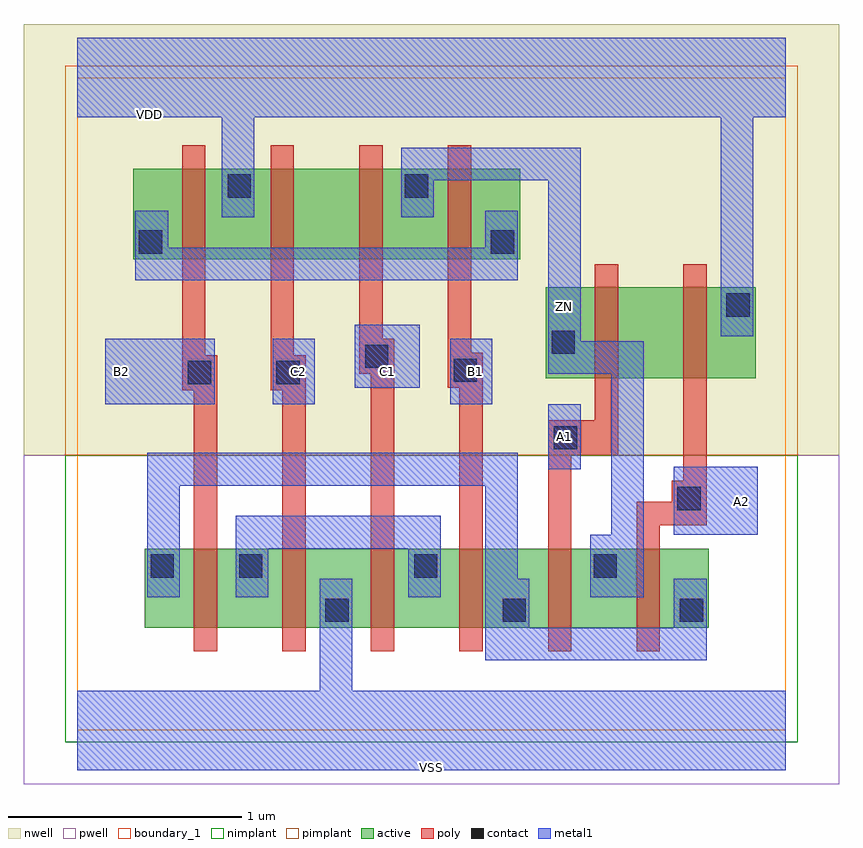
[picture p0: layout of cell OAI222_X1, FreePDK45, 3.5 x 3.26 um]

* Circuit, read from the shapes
.subckt OAI222_X1 A1 A2 B1 B2 C1 C2 VDD VSS ZN
M1 n1 B2 n2 VSUBS nfet w=0.34u l=0.1u
M2 VSS C2 n1 VSUBS nfet w=0.34u l=0.1u
M3 n1 C1 VSS VSUBS nfet w=0.34u l=0.1u
M4 n2 B1 n1 VSUBS nfet w=0.34u l=0.1u
M5 ZN A1 n2 VSUBS nfet w=0.34u l=0.1u
M6 n2 A2 ZN VSUBS nfet w=0.34u l=0.1u
M7 VDD B2 n3 n4 pfet w=0.39u l=0.1u
M8 n5 C2 VDD n4 pfet w=0.39u l=0.1u
M9 ZN C1 n5 n4 pfet w=0.39u l=0.1u
M10 n3 B1 ZN n4 pfet w=0.39u l=0.1u
M11 n6 A1 ZN n4 pfet w=0.39u l=0.1u
M12 VDD A2 n6 n4 pfet w=0.39u l=0.1u
.ends

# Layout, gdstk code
import gdstk
lib = gdstk.Library(unit=1e-6, precision=1e-09)
def R(c, l, rs):  # rectangles x0, y0, x1, y1
    for r in rs: c.add(gdstk.rectangle(r[:2], r[2:], *l))
def A(c, l, x, y, w, h, nx, ny, dx, dy):  # array of equal rectangles
    R(c, l, [(x+i*dx, y+j*dy, x+i*dx+w, y+j*dy+h) for i in range(nx) for j in range(ny)])
def P(c, l, *ps):  # polygons
    for p in ps: c.add(gdstk.Polygon(p, *l))
active = (1, 0)
pwell = (2, 0)
nwell = (3, 0)
nimplant = (4, 0)
pimplant = (5, 0)
poly = (9, 0)
contact = (10, 0)
metal1 = (11, 0)
boundary_1 = (235, 1)

oai222_x1 = lib.new_cell('OAI222_X1')
R(oai222_x1, active, [(0.29,0.44,2.71,0.78), (2.01,1.51,2.91,1.9), (0.24,2.02,1.9,2.41)])
R(oai222_x1, pwell, [(-0.23,-0.23,3.27,1.18)])
R(oai222_x1, nwell, [(-0.23,1.18,3.27,3.03)])
R(oai222_x1, nimplant, [(-0.05,-0.05,3.09,1.18)])
R(oai222_x1, pimplant, [(-0.05,1.18,3.09,2.85)])
P(oai222_x1, poly, [(2.4,0.34),(2.5,0.34),(2.5,0.88),(2.7,0.88),(2.7,2),(2.6,2),(2.6,1.07),(2.55,1.07),(2.55,0.98),(2.4,0.98)],
  [(2.02,0.34),(2.12,0.34),(2.12,1.18),(2.32,1.18),(2.32,2),(2.22,2),(2.22,1.33),(2.02,1.33)],
  [(1.59,1.47),(1.64,1.47),(1.64,0.34),(1.74,0.34),(1.74,1.62),(1.69,1.62),(1.69,2.51),(1.59,2.51)],
  [(1.21,1.53),(1.26,1.53),(1.26,0.34),(1.36,0.34),(1.36,1.68),(1.31,1.68),(1.31,2.51),(1.21,2.51)],
  [(0.83,1.46),(0.88,1.46),(0.88,0.34),(0.98,0.34),(0.98,1.61),(0.93,1.61),(0.93,2.51),(0.83,2.51)],
  [(0.45,1.46),(0.5,1.46),(0.5,0.34),(0.6,0.34),(0.6,1.61),(0.55,1.61),(0.55,2.51),(0.45,2.51)])
A(oai222_x1, contact, 1.065, 0.465, 0.1, 0.1, 3, 1, 0.76, 0)
R(oai222_x1, contact, [(0.315,0.655,0.415,0.755), (0.695,0.655,0.795,0.755), (1.445,0.655,1.545,0.755), (2.215,0.655,2.315,0.755), (2.575,0.945,2.675,1.045), (2.045,1.205,2.145,1.305), (0.475,1.485,0.575,1.585), (0.855,1.485,0.955,1.585), (1.615,1.495,1.715,1.595), (1.235,1.555,1.335,1.655), (2.035,1.615,2.135,1.715), (2.785,1.775,2.885,1.875), (0.265,2.045,0.365,2.145), (1.775,2.045,1.875,2.145), (0.645,2.285,0.745,2.385), (1.405,2.285,1.505,2.385)])
R(oai222_x1, metal1, [(2.56,0.84,2.92,1.13), (2.56,0.84,2.92,1.13), (2.02,1.12,2.16,1.4), (2.02,1.12,2.16,1.4), (0.12,1.4,0.59,1.68), (0.12,1.4,0.59,1.68), (0.84,1.4,1.02,1.68), (0.84,1.4,1.02,1.68), (1.6,1.4,1.78,1.68), (1.6,1.4,1.78,1.68), (1.19,1.47,1.47,1.74), (1.19,1.47,1.47,1.74)])
P(oai222_x1, metal1, [(0,-0.17),(3.04,-0.17),(3.04,0.17),(1.18,0.17),(1.18,0.65),(1.04,0.65),(1.04,0.17),(0,0.17)],
  [(1.39,2.2),(1.53,2.2),(1.53,2.36),(2.02,2.36),(2.02,1.53),(2.29,1.53),(2.29,0.84),(2.2,0.84),(2.2,0.57),(2.43,0.57),(2.43,1.67),(2.16,1.67),(2.16,2.5),(1.39,2.5)],
  [(0,2.63),(0.62,2.63),(0.62,2.2),(0.76,2.2),(0.76,2.63),(2.76,2.63),(2.76,1.69),(2.9,1.69),(2.9,2.63),(3.04,2.63),(3.04,2.97),(0,2.97)],
  [(0,2.63),(0.62,2.63),(0.62,2.2),(0.76,2.2),(0.76,2.63),(2.76,2.63),(2.76,1.69),(2.9,1.69),(2.9,2.63),(3.04,2.63),(3.04,2.97),(0,2.97)],
  [(0,-0.17),(3.04,-0.17),(3.04,0.17),(1.18,0.17),(1.18,0.65),(1.04,0.65),(1.04,0.17),(0,0.17)],
  [(0.3,0.57),(0.44,0.57),(0.44,1.05),(1.75,1.05),(1.75,0.3),(2.7,0.3),(2.7,0.65),(2.56,0.65),(2.56,0.44),(1.94,0.44),(1.94,0.65),(1.89,0.65),(1.89,1.19),(0.3,1.19)],
  [(1.39,2.2),(1.53,2.2),(1.53,2.36),(2.02,2.36),(2.02,1.53),(2.29,1.53),(2.29,0.84),(2.2,0.84),(2.2,0.57),(2.43,0.57),(2.43,1.67),(2.16,1.67),(2.16,2.5),(1.39,2.5)],
  [(0.25,1.93),(1.89,1.93),(1.89,2.23),(1.75,2.23),(1.75,2.07),(0.39,2.07),(0.39,2.23),(0.25,2.23)],
  [(0.68,0.57),(0.82,0.57),(0.82,0.78),(1.42,0.78),(1.42,0.57),(1.56,0.57),(1.56,0.92),(0.68,0.92)])
R(oai222_x1, boundary_1, [(0,0,3.04,2.8)])
oai222_x1.add(gdstk.Label('ZN', (2.09,1.82), layer=11, texttype=0))
oai222_x1.add(gdstk.Label('VSS', (1.52,-0.16), layer=11, texttype=0))
oai222_x1.add(gdstk.Label('VDD', (0.31,2.64), layer=11, texttype=0))
oai222_x1.add(gdstk.Label('C2', (0.95,1.54), layer=11, texttype=0))
oai222_x1.add(gdstk.Label('C1', (1.33,1.54), layer=11, texttype=0))
oai222_x1.add(gdstk.Label('B2', (0.19,1.54), layer=11, texttype=0))
oai222_x1.add(gdstk.Label('B1', (1.71,1.54), layer=11, texttype=0))
oai222_x1.add(gdstk.Label('A2', (2.85,0.98), layer=11, texttype=0))
oai222_x1.add(gdstk.Label('A1', (2.09,1.26), layer=11, texttype=0))

lib.write_gds('OAI222_X1.gds')
